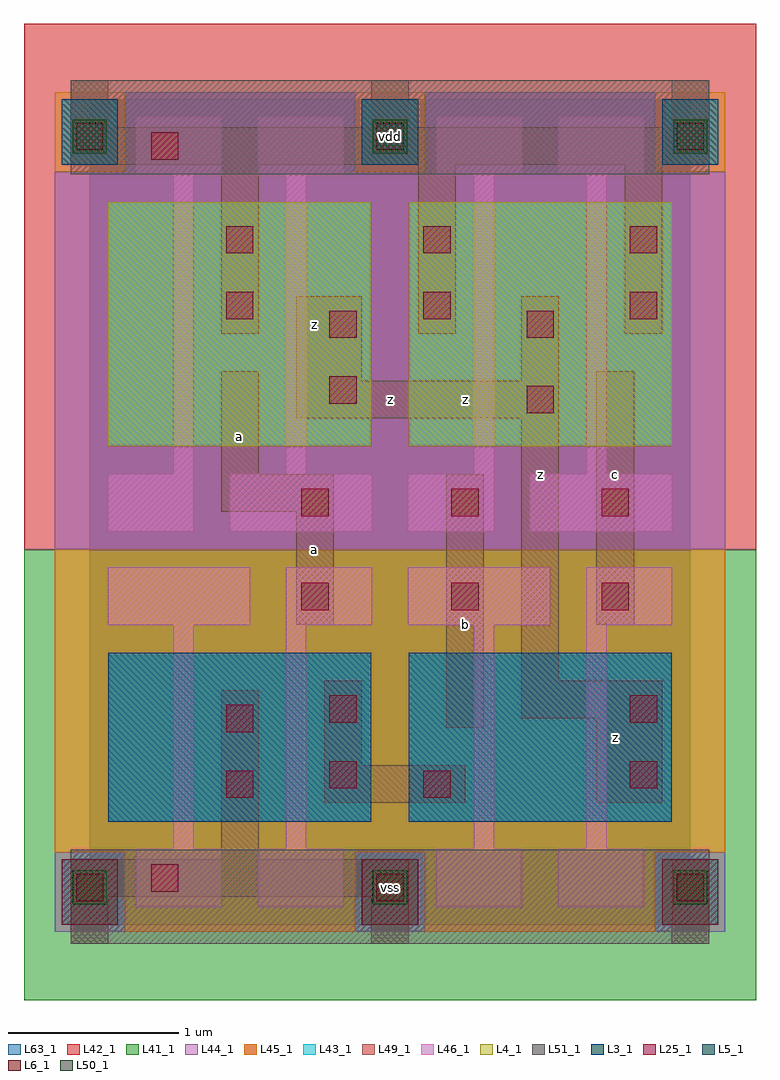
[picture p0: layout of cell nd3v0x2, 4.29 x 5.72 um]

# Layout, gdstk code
import gdstk
lib = gdstk.Library(unit=1e-6, precision=1e-09)
def R(c, l, rs):  # rectangles x0, y0, x1, y1
    for r in rs: c.add(gdstk.rectangle(r[:2], r[2:], *l))
def A(c, l, x, y, w, h, nx, ny, dx, dy):  # array of equal rectangles
    R(c, l, [(x+i*dx, y+j*dy, x+i*dx+w, y+j*dy+h) for i in range(nx) for j in range(ny)])
L3_1 = (3, 1)
L4_1 = (4, 1)
L5_1 = (5, 1)
L6_1 = (6, 1)
L25_1 = (25, 1)
L41_1 = (41, 1)
L42_1 = (42, 1)
L43_1 = (43, 1)
L44_1 = (44, 1)
L45_1 = (45, 1)
L46_1 = (46, 1)
L49_1 = (49, 1)
L50_1 = (50, 1)
L51_1 = (51, 1)
L63_1 = (63, 1)

nd3v0x2 = lib.new_cell('nd3v0x2')
R(nd3v0x2, L3_1, [(0.11,0.605,1.65,1.595), (1.87,0.605,3.41,1.595)])
R(nd3v0x2, L4_1, [(0.11,2.805,1.65,4.235), (1.87,2.805,3.41,4.235)])
A(nd3v0x2, L5_1, -0.165, 4.455, 0.33, 0.385, 3, 1, 1.76, 0)
A(nd3v0x2, L6_1, -0.165, 0, 0.33, 0.385, 3, 1, 1.76, 0)
A(nd3v0x2, L25_1, -0.08, 0.14, 0.16, 0.16, 3, 2, 1.76, 4.4)
A(nd3v0x2, L25_1, 1.24, 1.845, 0.16, 0.16, 3, 2, 0.88, 0.55)
R(nd3v0x2, L25_1, [(0.36,0.195,0.52,0.355), (0.8,0.745,0.96,0.905), (1.955,0.745,2.115,0.905), (1.405,0.8,1.565,0.96), (3.165,0.8,3.325,0.96), (0.8,1.13,0.96,1.29), (1.405,1.185,1.565,1.345), (3.165,1.185,3.325,1.345), (2.56,3,2.72,3.16), (1.405,3.055,1.565,3.215), (1.405,3.44,1.565,3.6), (2.56,3.44,2.72,3.6), (0.8,3.55,0.96,3.71), (1.955,3.55,2.115,3.71), (3.165,3.55,3.325,3.71), (0.8,3.935,0.96,4.095), (1.955,3.935,2.115,4.095), (3.165,3.935,3.325,4.095), (0.36,4.485,0.52,4.645)])
R(nd3v0x2, L41_1, [(-0.385,-0.44,3.905,2.2)])
R(nd3v0x2, L42_1, [(-0.385,2.2,3.905,5.28)])
A(nd3v0x2, L43_1, -0.165, 0, 0.33, 0.385, 3, 2, 1.76, 4.455)
R(nd3v0x2, L43_1, [(0.11,0.605,1.65,1.595), (1.87,0.605,3.41,1.595), (0.11,2.805,1.65,4.235), (1.87,2.805,3.41,4.235)])
A(nd3v0x2, L44_1, -0.205, -0.04, 0.41, 0.465, 3, 1, 1.76, 0)
R(nd3v0x2, L44_1, [(-0.205,2.2,3.725,4.415), (0.205,4.415,1.555,4.88), (1.965,4.415,3.315,4.88)])
A(nd3v0x2, L45_1, -0.205, 4.415, 0.41, 0.465, 3, 1, 1.76, 0)
R(nd3v0x2, L45_1, [(0.205,-0.04,1.555,0.425), (1.965,-0.04,3.315,0.425), (-0.205,0.425,3.725,2.2)])
R(nd3v0x2, L46_1, [(0.27,0.105,0.775,0.445), (0.985,0.105,1.49,0.445), (2.03,0.105,2.535,0.445), (2.745,0.105,3.25,0.445), (0.49,0.445,0.61,1.755), (1.15,0.445,1.27,1.755), (2.25,0.445,2.37,1.755), (2.91,0.445,3.03,1.755), (0.105,1.755,0.94,2.095), (1.15,1.755,1.655,2.095), (1.865,1.755,2.7,2.095), (2.91,1.755,3.415,2.095), (0.105,2.305,0.61,2.645), (0.82,2.305,1.655,2.645), (1.865,2.305,2.37,2.645), (2.58,2.305,3.415,2.645), (0.49,2.645,0.61,4.395), (1.15,2.645,1.27,4.395), (2.25,2.645,2.37,4.395), (2.91,2.645,3.03,4.395), (0.27,4.395,0.775,4.735), (0.985,4.395,1.49,4.735), (2.03,4.395,2.535,4.735), (2.745,4.395,3.25,4.735)])
A(nd3v0x2, L49_1, -0.11, 4.675, 0.22, 0.275, 3, 1, 1.76, 0)
R(nd3v0x2, L49_1, [(-0.11,-0.11,0.11,0.165), (1.65,-0.11,1.87,0.165), (3.41,-0.11,3.63,0.385), (-0.11,0.165,1.87,0.385), (0.77,0.385,0.99,1.375), (1.375,0.715,2.2,0.935), (2.97,0.715,3.355,1.21), (1.375,0.935,1.595,1.43), (2.09,1.155,2.31,2.64), (2.53,1.21,3.355,1.43), (2.53,1.43,2.75,2.97), (1.21,1.76,1.43,2.42), (2.97,1.76,3.19,3.245), (0.77,2.42,1.43,2.64), (0.77,2.64,0.99,3.245), (1.21,2.97,2.75,3.19), (1.21,3.19,1.595,3.685), (2.53,3.19,2.75,3.685), (0.77,3.465,0.99,4.455), (1.925,3.465,2.145,4.455), (3.135,3.465,3.355,4.455), (-0.11,4.455,3.63,4.675)])
A(nd3v0x2, L50_1, -0.1, 0.12, 0.2, 0.2, 3, 2, 1.76, 4.4)
R(nd3v0x2, L51_1, [(-0.11,-0.11,3.63,0.44), (-0.11,4.4,3.63,4.95)])
R(nd3v0x2, L63_1, [(0,0,3.52,4.84)])
nd3v0x2.add(gdstk.Label('a', (0.88,2.86), layer=49, texttype=1))
nd3v0x2.add(gdstk.Label('a', (1.32,2.2), layer=49, texttype=1))
nd3v0x2.add(gdstk.Label('z', (1.76,3.08), layer=49, texttype=1))
nd3v0x2.add(gdstk.Label('z', (1.32,3.52), layer=49, texttype=1))
nd3v0x2.add(gdstk.Label('b', (2.2,1.76), layer=49, texttype=1))
nd3v0x2.add(gdstk.Label('z', (2.64,2.64), layer=49, texttype=1))
nd3v0x2.add(gdstk.Label('z', (2.2,3.08), layer=49, texttype=1))
nd3v0x2.add(gdstk.Label('z', (3.08,1.1), layer=49, texttype=1))
nd3v0x2.add(gdstk.Label('c', (3.08,2.64), layer=49, texttype=1))
nd3v0x2.add(gdstk.Label('vss', (1.76,0.22), layer=51, texttype=1))
nd3v0x2.add(gdstk.Label('vdd', (1.76,4.62), layer=51, texttype=1))

lib.write_gds('nd3v0x2.gds')
